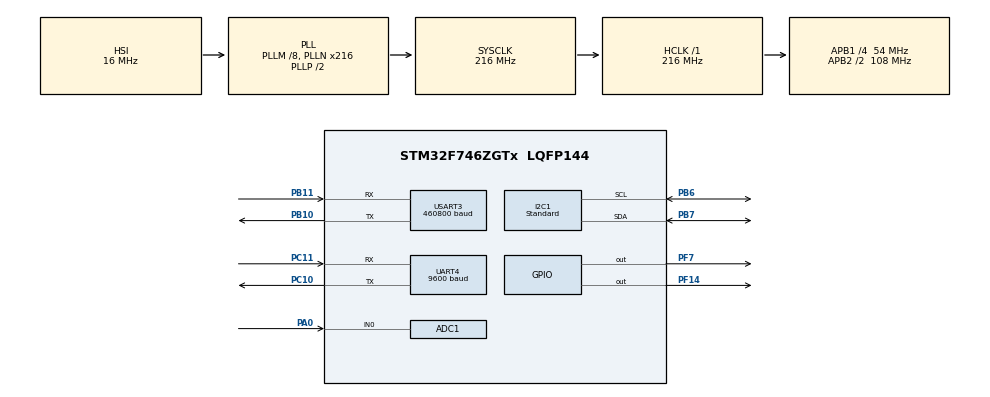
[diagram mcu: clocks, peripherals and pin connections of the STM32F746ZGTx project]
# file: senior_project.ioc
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ADC1.Channel-0\#ChannelRegularConversion=ADC_CHANNEL_0
ADC1.NbrOfConversionFlag=1
ADC1.Rank-0\#ChannelRegularConversion=1
ADC1.SamplingTime-0\#ChannelRegularConversion=ADC_SAMPLETIME_3CYCLES
ADC1.master=1
Dma.Request0=UART4_RX
Dma.UART4_RX.0.Direction=DMA_PERIPH_TO_MEMORY
Dma.UART4_RX.0.FIFOMode=DMA_FIFOMODE_DISABLE
Dma.UART4_RX.0.Instance=DMA1_Stream2
Dma.UART4_RX.0.MemDataAlignment=DMA_MDATAALIGN_BYTE
Dma.UART4_RX.0.MemInc=DMA_MINC_ENABLE
Dma.UART4_RX.0.Mode=DMA_CIRCULAR
Dma.UART4_RX.0.PeriphDataAlignment=DMA_PDATAALIGN_BYTE
Dma.UART4_RX.0.PeriphInc=DMA_PINC_DISABLE
Dma.UART4_RX.0.Priority=DMA_PRIORITY_LOW
I2C1.I2C_Speed_Mode=I2C_Standard
I2C1.Timing=0x20404768
Mcu.Family=STM32F7
Mcu.Name=STM32F746ZGTx
Mcu.Package=LQFP144
NVIC.DMA1_Stream2_IRQn=true\:0\:0\:false\:false\:true\:false\:true
NVIC.PriorityGroup=NVIC_PRIORITYGROUP_4
NVIC.UART4_IRQn=true\:0\:0\:false\:false\:true\:true\:true
PA0/WKUP.Signal=ADCx_IN0
PB10.Mode=Asynchronous
PB10.Signal=USART3_TX
PB11.Mode=Asynchronous
PB11.Signal=USART3_RX
PB6.Mode=I2C
PB6.Signal=I2C1_SCL
PB7.Mode=I2C
PB7.Signal=I2C1_SDA
PC10.GPIO_PuPd=GPIO_PULLUP
PC10.Mode=Asynchronous
PC10.Signal=UART4_TX
PC11.GPIO_PuPd=GPIO_PULLUP
PC11.Mode=Asynchronous
PC11.Signal=UART4_RX
PF14.Signal=GPIO_Output
PF7.Signal=GPIO_Output
ProjectManager.HeapSize=0x200
ProjectManager.StackSize=0x400
ProjectManager.TargetToolchain=STM32CubeIDE
RCC.AHBFreq_Value=216000000
RCC.APB1CLKDivider=RCC_HCLK_DIV4
RCC.APB1Freq_Value=54000000
RCC.APB1TimFreq_Value=108000000
RCC.APB2CLKDivider=RCC_HCLK_DIV2
RCC.APB2Freq_Value=108000000
RCC.APB2TimFreq_Value=216000000
RCC.CortexFreq_Value=216000000
RCC.HCLKFreq_Value=216000000
RCC.HSE_VALUE=25000000
RCC.HSI_VALUE=16000000
RCC.LSE_VALUE=32768
RCC.PLLM=8
RCC.PLLN=216
RCC.SYSCLKFreq_VALUE=216000000
RCC.SYSCLKSource=RCC_SYSCLKSOURCE_PLLCLK
RCC.USBFreq_Value=216000000
RCC.VCOOutputFreq_Value=432000000
RTC.Date=29
RTC.Month=RTC_MONTH_APRIL
RTC.WeekDay=RTC_WEEKDAY_FRIDAY
RTC.Year=22
SH.ADCx_IN0.0=ADC1_IN0,IN0
UART4.BaudRate=9600
USART3.BaudRate=460800
USART3.VirtualMode-Asynchronous=VM_ASYNC
VP_RTC_VS_RTC_Activate.Mode=RTC_Enabled
VP_RTC_VS_RTC_Calendar.Mode=RTC_Calendar
board=custom

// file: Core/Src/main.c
/* USER CODE BEGIN Header */
/**
  ******************************************************************************
  * @file           : main.c
  * @brief          : Main program body
  ******************************************************************************
  * @attention
  *
  * Copyright (c) 2022 STMicroelectronics.
  * All rights reserved.
  *
  * This software is licensed under terms that can be found in the LICENSE file
  * in the root directory of this software component.
  * If no LICENSE file comes with this software, it is provided AS-IS.
  *
  ******************************************************************************
  */
/* USER CODE END Header */
#include "main.h"

/* USER CODE BEGIN Includes */
#include "zoe_m8q.h"
#include "bmp280.h"
#include "string.h"
/* USER CODE END Includes */

/* USER CODE BEGIN PTD */
uint8_t i[36];
zoe_m8q zoe;
int in_voltage_bit;
float in_voltage;
float latitude_w_comma;
float longtitude_w_comma;
int32_t latitude_after_comma;

BMP280_HandleTypedef bmp280;

float pressure, temperature, humidity;
uint32_t pressure_uinteger;
uint32_t temperature_uinteger;
uint16_t size;
uint8_t Data[256];
char sbuf[25];
char timebuf[15];

uint8_t ubx_cfg[] = {0xB5, 0x62, 0x06, 0x00, 0x14, 0x00, 0x01, 0x00,
				     0x00, 0x00, 0xD0, 0x08, 0x00, 0x00, 0x80, 0x25,
					 0x00, 0x00, 0x23, 0x00, 0x01, 0x00, 0x00, 0x00,
					 0x00, 0x00, 0xBC, 0x89};

uint8_t ubx_cfg1[]= {0xB5, 0x62, 0x06, 0x00, 0x01, 0x00, 0x01, 0x08, 0x22};

uint8_t esp_dummy[23];
RTC_DateTypeDef gDate;
RTC_TimeTypeDef gTime;
uint8_t weather;

/* USER CODE END PTD */

ADC_HandleTypeDef hadc1;

I2C_HandleTypeDef hi2c1;

RTC_HandleTypeDef hrtc;

UART_HandleTypeDef huart4;
UART_HandleTypeDef huart3;
DMA_HandleTypeDef hdma_uart4_rx;

void SystemClock_Config(void);
static void MX_GPIO_Init(void);
static void MX_I2C1_Init(void);
static void MX_UART4_Init(void);
static void MX_USART3_UART_Init(void);
static void MX_ADC1_Init(void);
static void MX_DMA_Init(void);
static void MX_RTC_Init(void);

int main(void)
{

  /* MCU Configuration--------------------------------------------------------*/

  /* Reset of all peripherals, Initializes the Flash interface and the Systick. */
  HAL_Init();

  /* Configure the system clock */
  SystemClock_Config();

  /* Initialize all configured peripherals */
  MX_GPIO_Init();
  MX_I2C1_Init();
  MX_UART4_Init();
  MX_USART3_UART_Init();
  MX_ADC1_Init();
  MX_DMA_Init();
  MX_RTC_Init();
  /* USER CODE BEGIN 2 */
  while (in_voltage < 4.5)
  {
	  HAL_Delay(100);
	  HAL_ADC_Start(&hadc1);
	  in_voltage_bit = HAL_ADC_GetValue(&hadc1);
	  in_voltage = in_voltage_bit * 0.0087586;
	  HAL_GPIO_WritePin(GPIOF, GPIO_PIN_14, GPIO_PIN_SET);
	  HAL_Delay(10);
	  HAL_GPIO_WritePin(GPIOF, GPIO_PIN_14, GPIO_PIN_RESET);
	  HAL_Delay(10);
  }

  HAL_UART_Receive_IT(&huart4, zoe.rx_zoe_data, 36);

  void get_time(void)
  {

  /* Get the RTC current Time */
   HAL_RTC_GetTime(&hrtc, &gTime, RTC_FORMAT_BIN);
  /* Get the RTC current Date */
   HAL_RTC_GetDate(&hrtc, &gDate, RTC_FORMAT_BIN);
  /* Display time Format: hh:mm:ss */

  /* Display date Format: dd-mm-yy */

  }

  bmp280_init_default_params(&bmp280.params);
  bmp280.addr = BMP280_I2C_ADDRESS_0;
  bmp280.i2c = &hi2c1;
  bmp280_init(&bmp280, &bmp280.params);
  bool bme280p = bmp280.id == BMP280_CHIP_ID;

  /* USER CODE END 2 */

  /* Infinite loop */
  /* USER CODE BEGIN WHILE */
  while (1)
  {

	  	  get_time();
	      ZOE();

	      latitude_w_comma = zoe.lattitude_zoe_m8q / 10000000;
	      longtitude_w_comma = zoe.longtitude_zoe_m8q / 10000000;
	      HAL_UART_Receive_IT(&huart4, zoe.rx_zoe_data, 36);
	  	  HAL_GPIO_WritePin(GPIOF, GPIO_PIN_7, GPIO_PIN_SET);

		  HAL_ADC_Start(&hadc1);
		  in_voltage_bit = HAL_ADC_GetValue(&hadc1);
		  in_voltage = in_voltage_bit * 0.0087586;

		  while (in_voltage < 4.5)
		  {
			  HAL_ADC_Start(&hadc1);
			  in_voltage_bit = HAL_ADC_GetValue(&hadc1);
			  in_voltage = in_voltage_bit * 0.0087586;
			  HAL_GPIO_WritePin(GPIOF, GPIO_PIN_7, GPIO_PIN_RESET);
			  HAL_Delay(100);
			  HAL_GPIO_WritePin(GPIOF, GPIO_PIN_14, GPIO_PIN_SET);
			  HAL_Delay(100);
			  HAL_GPIO_WritePin(GPIOF, GPIO_PIN_14, GPIO_PIN_RESET);
			  HAL_Delay(100);
		  }

		  bmp280_read_float(&bmp280, &temperature, &pressure, &humidity);

		  pressure_uinteger = pressure;
		  temperature_uinteger = temperature;

		  //weather conditions::
		  //temperature < 15 :: weather == 0x31
		  //temperature < 5  :: humidity > 70 :: weather == 0x32
		  //temperature > 15 && temperature < 30 :: humidity < 50 :: weather == 0x33
		  //temperature > 30 && humidity < 30 weather == 0x34
		  //humidity > 80 weather == 0x35

		  if(temperature_uinteger < 15)
		  {
			  weather = 0x61;
		  }

		  if(temperature_uinteger < 5 && humidity > 70)
		  {
			  weather = 0x62;
		  }

		  if(temperature_uinteger > 15 && temperature_uinteger < 30 && humidity < 50)
		  {
			  weather = 0x63;
		  }

		  if(temperature_uinteger > 30 && humidity < 30)
		  {
			  weather = 0x64;
		  }

		  if(humidity > 80)
		  {
			  weather = 0x65;
		  }

		  esp_dummy[0] = 0x31;
		  esp_dummy[1] = temperature_uinteger;
		  esp_dummy[2] = pressure_uinteger >> 24;
		  esp_dummy[3] = pressure_uinteger >> 16;
		  esp_dummy[4] = pressure_uinteger >>  8;
		  esp_dummy[5] = pressure_uinteger;
		  esp_dummy[6] = humidity;
		  esp_dummy[7] = weather;
		  esp_dummy[8] = 0x15;
		  esp_dummy[9] = zoe.rx_zoe_data[10];
		  esp_dummy[10] = zoe.rx_zoe_data[11];
		  esp_dummy[11] = zoe.rx_zoe_data[12];
		  esp_dummy[12] = zoe.rx_zoe_data[13];
		  esp_dummy[13] = zoe.rx_zoe_data[14];
          esp_dummy[14] = zoe.rx_zoe_data[15];
		  esp_dummy[15] = zoe.rx_zoe_data[16];
	      esp_dummy[16] = zoe.rx_zoe_data[17];
		  esp_dummy[17] = zoe.rx_zoe_data[22];
	      esp_dummy[18] = zoe.rx_zoe_data[23];
		  esp_dummy[19] = zoe.rx_zoe_data[24];
		  esp_dummy[20] = zoe.rx_zoe_data[25];
		  esp_dummy[21] = 0x32;

		/*  sprintf(sbuf, "\nPressure %f\n", pressure);
		  HAL_UART_Transmit(&huart3, sbuf, 24, 10);
		  sprintf(sbuf, "Temperature %f\n", temperature);
		  HAL_UART_Transmit(&huart3, sbuf, 22, 10);
		  sprintf(sbuf, "Input Voltage %f\n\ ", in_voltage);
		  HAL_UART_Transmit(&huart3, sbuf, 23, 10);
		  sprintf(sbuf, "Humidity %f\n\ ", humidity);
		  HAL_UART_Transmit(&huart3, sbuf, 19, 10);
		  sprintf(timebuf, "Time %i.%i.%i \n",gTime.Hours,gTime.Minutes,gTime.Seconds);
		  HAL_UART_Transmit(&huart3, timebuf, 15, 10);
		  sprintf(sbuf, "Latitude %f\n\ ", latitude_w_comma);
		  HAL_UART_Transmit(&huart3, sbuf, 19, 10);
		  sprintf(sbuf, "Longtitude %f\n\ ", longtitude_w_comma);
		  HAL_UART_Transmit(&huart3, sbuf, 21, 10);
		  HAL_Delay(1);*/
		  HAL_UART_Transmit(&huart3, esp_dummy , 22, 100);

		  HAL_Delay(10);
    /* USER CODE END WHILE */

  }
}

void SystemClock_Config(void)
{
  RCC_OscInitTypeDef RCC_OscInitStruct = {0};
  RCC_ClkInitTypeDef RCC_ClkInitStruct = {0};

  /** Configure the main internal regulator output voltage
  */
  __HAL_RCC_PWR_CLK_ENABLE();
  __HAL_PWR_VOLTAGESCALING_CONFIG(PWR_REGULATOR_VOLTAGE_SCALE1);
  /** Initializes the RCC Oscillators according to the specified parameters
  * in the RCC_OscInitTypeDef structure.
  */
  RCC_OscInitStruct.OscillatorType = RCC_OSCILLATORTYPE_HSI|RCC_OSCILLATORTYPE_LSI;
  RCC_OscInitStruct.HSIState = RCC_HSI_ON;
  RCC_OscInitStruct.HSICalibrationValue = RCC_HSICALIBRATION_DEFAULT;
  RCC_OscInitStruct.LSIState = RCC_LSI_ON;
  RCC_OscInitStruct.PLL.PLLState = RCC_PLL_ON;
  RCC_OscInitStruct.PLL.PLLSource = RCC_PLLSOURCE_HSI;
  RCC_OscInitStruct.PLL.PLLM = 8;
  RCC_OscInitStruct.PLL.PLLN = 216;
  RCC_OscInitStruct.PLL.PLLP = RCC_PLLP_DIV2;
  RCC_OscInitStruct.PLL.PLLQ = 2;
  if (HAL_RCC_OscConfig(&RCC_OscInitStruct) != HAL_OK)
  {
    Error_Handler();
  }
  /** Activate the Over-Drive mode
  */
  if (HAL_PWREx_EnableOverDrive() != HAL_OK)
  {
    Error_Handler();
  }
  /** Initializes the CPU, AHB and APB buses clocks
  */
  RCC_ClkInitStruct.ClockType = RCC_CLOCKTYPE_HCLK|RCC_CLOCKTYPE_SYSCLK
                              |RCC_CLOCKTYPE_PCLK1|RCC_CLOCKTYPE_PCLK2;
  RCC_ClkInitStruct.SYSCLKSource = RCC_SYSCLKSOURCE_PLLCLK;
  RCC_ClkInitStruct.AHBCLKDivider = RCC_SYSCLK_DIV1;
  RCC_ClkInitStruct.APB1CLKDivider = RCC_HCLK_DIV4;
  RCC_ClkInitStruct.APB2CLKDivider = RCC_HCLK_DIV2;

  if (HAL_RCC_ClockConfig(&RCC_ClkInitStruct, FLASH_LATENCY_7) != HAL_OK)
  {
    Error_Handler();
  }
}

static void MX_ADC1_Init(void)
{

  ADC_ChannelConfTypeDef sConfig = {0};

  /** Configure the global features of the ADC (Clock, Resolution, Data Alignment and number of conversion)
  */
  hadc1.Instance = ADC1;
  hadc1.Init.ClockPrescaler = ADC_CLOCK_SYNC_PCLK_DIV4;
  hadc1.Init.Resolution = ADC_RESOLUTION_12B;
  hadc1.Init.ScanConvMode = ADC_SCAN_DISABLE;
  hadc1.Init.ContinuousConvMode = DISABLE;
  hadc1.Init.DiscontinuousConvMode = DISABLE;
  hadc1.Init.ExternalTrigConvEdge = ADC_EXTERNALTRIGCONVEDGE_NONE;
  hadc1.Init.ExternalTrigConv = ADC_SOFTWARE_START;
  hadc1.Init.DataAlign = ADC_DATAALIGN_RIGHT;
  hadc1.Init.NbrOfConversion = 1;
  hadc1.Init.DMAContinuousRequests = DISABLE;
  hadc1.Init.EOCSelection = ADC_EOC_SINGLE_CONV;
  if (HAL_ADC_Init(&hadc1) != HAL_OK)
  {
    Error_Handler();
  }
  /** Configure for the selected ADC regular channel its corresponding rank in the sequencer and its sample time.
  */
  sConfig.Channel = ADC_CHANNEL_0;
  sConfig.Rank = ADC_REGULAR_RANK_1;
  sConfig.SamplingTime = ADC_SAMPLETIME_3CYCLES;
  if (HAL_ADC_ConfigChannel(&hadc1, &sConfig) != HAL_OK)
  {
    Error_Handler();
  }

}

static void MX_I2C1_Init(void)
{

  hi2c1.Instance = I2C1;
  hi2c1.Init.Timing = 0x20404768;
  hi2c1.Init.OwnAddress1 = 0;
  hi2c1.Init.AddressingMode = I2C_ADDRESSINGMODE_7BIT;
  hi2c1.Init.DualAddressMode = I2C_DUALADDRESS_DISABLE;
  hi2c1.Init.OwnAddress2 = 0;
  hi2c1.Init.OwnAddress2Masks = I2C_OA2_NOMASK;
  hi2c1.Init.GeneralCallMode = I2C_GENERALCALL_DISABLE;
  hi2c1.Init.NoStretchMode = I2C_NOSTRETCH_DISABLE;
  if (HAL_I2C_Init(&hi2c1) != HAL_OK)
  {
    Error_Handler();
  }
  /** Configure Analogue filter
  */
  if (HAL_I2CEx_ConfigAnalogFilter(&hi2c1, I2C_ANALOGFILTER_ENABLE) != HAL_OK)
  {
    Error_Handler();
  }
  /** Configure Digital filter
  */
  if (HAL_I2CEx_ConfigDigitalFilter(&hi2c1, 0) != HAL_OK)
  {
    Error_Handler();
  }

}

static void MX_RTC_Init(void)
{

  RTC_TimeTypeDef sTime = {0};
  RTC_DateTypeDef sDate = {0};

  /** Initialize RTC Only
  */
  hrtc.Instance = RTC;
  hrtc.Init.HourFormat = RTC_HOURFORMAT_24;
  hrtc.Init.AsynchPrediv = 127;
  hrtc.Init.SynchPrediv = 255;
  hrtc.Init.OutPut = RTC_OUTPUT_DISABLE;
  hrtc.Init.OutPutPolarity = RTC_OUTPUT_POLARITY_HIGH;
  hrtc.Init.OutPutType = RTC_OUTPUT_TYPE_OPENDRAIN;
  if (HAL_RTC_Init(&hrtc) != HAL_OK)
  {
    Error_Handler();
  }

  /** Initialize RTC and set the Time and Date
  */
  sTime.Hours = 0x0;
  sTime.Minutes = 0x0;
  sTime.Seconds = 0x0;
  sTime.DayLightSaving = RTC_DAYLIGHTSAVING_NONE;
  sTime.StoreOperation = RTC_STOREOPERATION_RESET;
  if (HAL_RTC_SetTime(&hrtc, &sTime, RTC_FORMAT_BCD) != HAL_OK)
  {
    Error_Handler();
  }
  sDate.WeekDay = RTC_WEEKDAY_FRIDAY;
  sDate.Month = RTC_MONTH_APRIL;
  sDate.Date = 0x29;
  sDate.Year = 0x22;

  if (HAL_RTC_SetDate(&hrtc, &sDate, RTC_FORMAT_BCD) != HAL_OK)
  {
    Error_Handler();
  }

}

static void MX_UART4_Init(void)
{

  huart4.Instance = UART4;
  huart4.Init.BaudRate = 9600;
  huart4.Init.WordLength = UART_WORDLENGTH_8B;
  huart4.Init.StopBits = UART_STOPBITS_1;
  huart4.Init.Parity = UART_PARITY_NONE;
  huart4.Init.Mode = UART_MODE_TX_RX;
  huart4.Init.HwFlowCtl = UART_HWCONTROL_NONE;
  huart4.Init.OverSampling = UART_OVERSAMPLING_16;
  huart4.Init.OneBitSampling = UART_ONE_BIT_SAMPLE_DISABLE;
  huart4.AdvancedInit.AdvFeatureInit = UART_ADVFEATURE_NO_INIT;
  if (HAL_UART_Init(&huart4) != HAL_OK)
  {
    Error_Handler();
  }

}

static void MX_USART3_UART_Init(void)
{

  huart3.Instance = USART3;
  huart3.Init.BaudRate = 115200;
  huart3.Init.WordLength = UART_WORDLENGTH_8B;
  huart3.Init.StopBits = UART_STOPBITS_1;
  huart3.Init.Parity = UART_PARITY_NONE;
  huart3.Init.Mode = UART_MODE_TX_RX;
  huart3.Init.HwFlowCtl = UART_HWCONTROL_NONE;
  huart3.Init.OverSampling = UART_OVERSAMPLING_16;
  huart3.Init.OneBitSampling = UART_ONE_BIT_SAMPLE_DISABLE;
  huart3.AdvancedInit.AdvFeatureInit = UART_ADVFEATURE_NO_INIT;
  if (HAL_UART_Init(&huart3) != HAL_OK)
  {
    Error_Handler();
  }

}

static void MX_DMA_Init(void)
{

  /* DMA controller clock enable */
  __HAL_RCC_DMA1_CLK_ENABLE();

  /* DMA interrupt init */
  /* DMA1_Stream2_IRQn interrupt configuration */
  HAL_NVIC_SetPriority(DMA1_Stream2_IRQn, 0, 0);
  HAL_NVIC_EnableIRQ(DMA1_Stream2_IRQn);

}

static void MX_GPIO_Init(void)
{
  GPIO_InitTypeDef GPIO_InitStruct = {0};

  /* GPIO Ports Clock Enable */
  __HAL_RCC_GPIOF_CLK_ENABLE();
  __HAL_RCC_GPIOA_CLK_ENABLE();
  __HAL_RCC_GPIOB_CLK_ENABLE();
  __HAL_RCC_GPIOC_CLK_ENABLE();

  /*Configure GPIO pin Output Level */
  HAL_GPIO_WritePin(GPIOF, GPIO_PIN_7|GPIO_PIN_14, GPIO_PIN_RESET);

  /*Configure GPIO pins : PF7 PF14 */
  GPIO_InitStruct.Pin = GPIO_PIN_7|GPIO_PIN_14;
  GPIO_InitStruct.Mode = GPIO_MODE_OUTPUT_PP;
  GPIO_InitStruct.Pull = GPIO_NOPULL;
  GPIO_InitStruct.Speed = GPIO_SPEED_FREQ_LOW;
  HAL_GPIO_Init(GPIOF, &GPIO_InitStruct);

}

void Error_Handler(void)
{
  __disable_irq();
  while (1)
  {
  }
}
